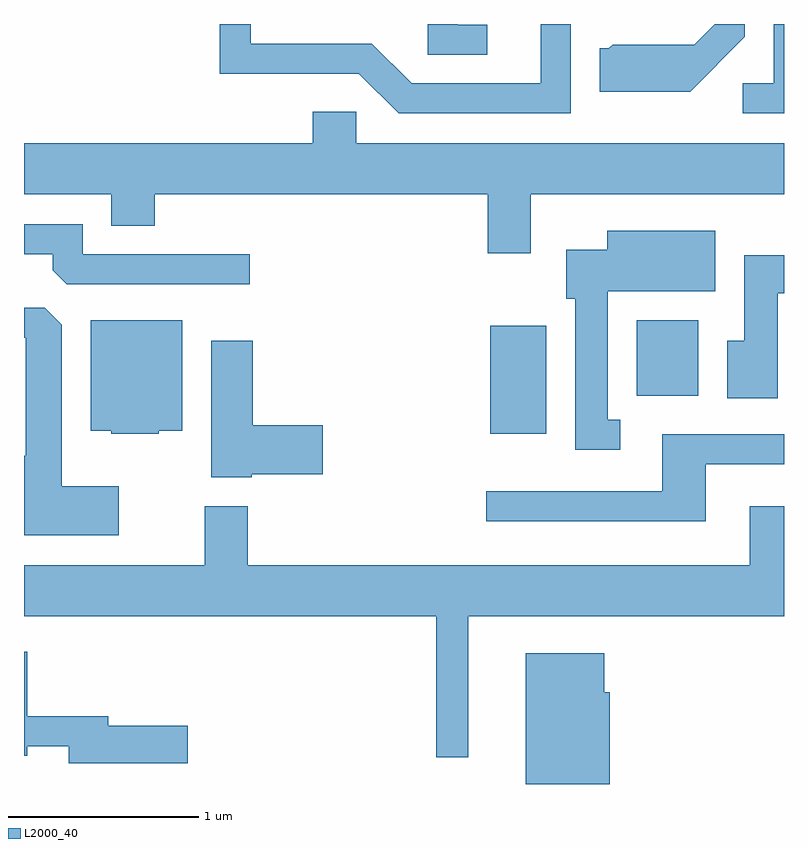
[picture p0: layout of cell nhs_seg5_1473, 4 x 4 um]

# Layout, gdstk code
import gdstk
lib = gdstk.Library(unit=1e-6, precision=1e-09)
def R(c, l, rs):  # rectangles x0, y0, x1, y1
    for r in rs: c.add(gdstk.rectangle(r[:2], r[2:], *l))
def P(c, l, *ps):  # polygons
    for p in ps: c.add(gdstk.Polygon(p, *l))
L2000_40 = (2000, 40)

nhs_seg5_1473 = lib.new_cell('nhs_seg5_1473')
R(nhs_seg5_1473, L2000_40, [(230.066,1519.916,230.359,1520.484), (230.836,1520.116,231.159,1520.514)])
P(nhs_seg5_1473, L2000_40, [(230.048,1522.069),(229.894,1522.069),(229.894,1522.072),(229.736,1522.072),(229.736,1521.911),(230.048,1521.911)],
  [(231.611,1522.072),(231.556,1522.072),(231.556,1521.759),(231.393,1521.759),(231.393,1521.601),(231.611,1521.601)],
  [(231.404,1522.004),(231.404,1522.072),(231.246,1522.072),(231.139,1521.964),(230.709,1521.964),(230.689,1521.944),(230.641,1521.944),(230.641,1521.716),(231.117,1521.716)],
  [(230.489,1522.072),(230.331,1522.072),(230.331,1521.759),(229.652,1521.759),(229.442,1521.969),(228.804,1521.969),(228.804,1522.072),(228.641,1522.072),(228.641,1521.811),(229.374,1521.811),(229.584,1521.601),(230.489,1521.601)],
  [(230.279,1521.176),(231.611,1521.176),(231.611,1521.444),(229.359,1521.444),(229.359,1521.609),(229.131,1521.609),(229.131,1521.444),(227.611,1521.444),(227.611,1521.176),(228.071,1521.176),(228.071,1521.011),(228.299,1521.011),(228.299,1521.176),(230.051,1521.176),(230.051,1520.866),(230.279,1520.866)],
  [(228.798,1520.859),(227.919,1520.859),(227.919,1521.019),(227.611,1521.019),(227.611,1520.861),(227.761,1520.861),(227.761,1520.777),(227.837,1520.701),(228.798,1520.701)],
  [(230.748,1519.989),(230.684,1519.989),(230.684,1520.666),(231.249,1520.666),(231.249,1520.984),(230.681,1520.984),(230.681,1520.884),(230.466,1520.884),(230.466,1520.626),(230.511,1520.626),(230.511,1519.831),(230.748,1519.831)],
  [(231.579,1520.656),(231.611,1520.656),(231.611,1520.854),(231.401,1520.854),(231.401,1520.404),(231.311,1520.404),(231.311,1520.101),(231.579,1520.101)],
  [(228.109,1519.639),(227.809,1519.639),(227.809,1520.489),(227.719,1520.579),(227.611,1520.579),(227.611,1520.421),(227.621,1520.421),(227.621,1519.799),(227.611,1519.799),(227.611,1519.381),(228.109,1519.381)],
  [(228.32,1519.931),(228.444,1519.931),(228.444,1520.514),(227.961,1520.514),(227.961,1519.931),(228.07,1519.931),(228.07,1519.916),(228.32,1519.916)],
  [(228.81,1519.701),(229.184,1519.701),(229.184,1519.959),(228.814,1519.959),(228.814,1520.404),(228.596,1520.404),(228.596,1519.686),(228.81,1519.686)],
  [(231.199,1519.756),(231.611,1519.756),(231.611,1519.914),(230.971,1519.914),(230.971,1519.614),(230.043,1519.614),(230.043,1519.456),(231.199,1519.456)],
  [(229.949,1518.956),(231.611,1518.956),(231.611,1519.534),(231.431,1519.534),(231.431,1519.224),(228.789,1519.224),(228.789,1519.534),(228.561,1519.534),(228.561,1519.224),(227.611,1519.224),(227.611,1518.956),(229.781,1518.956),(229.781,1518.213),(229.949,1518.213)],
  [(228.474,1518.379),(228.054,1518.379),(228.054,1518.429),(227.629,1518.429),(227.629,1518.768),(227.611,1518.768),(227.611,1518.221),(227.629,1518.221),(227.629,1518.271),(227.846,1518.271),(227.846,1518.181),(228.474,1518.181)],
  [(230.694,1518.554),(230.664,1518.554),(230.664,1518.759),(230.251,1518.759),(230.251,1518.072),(230.694,1518.072)])

lib.write_gds('nhs_seg5_1473.gds')
